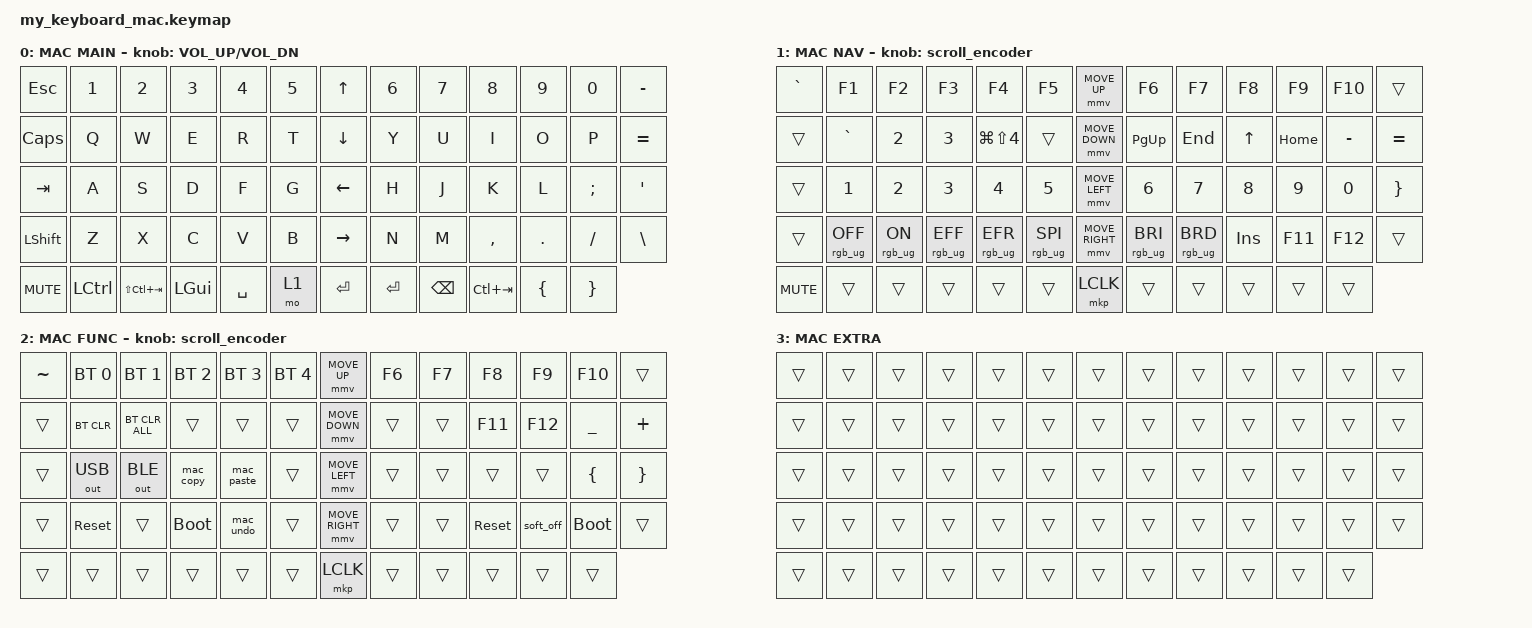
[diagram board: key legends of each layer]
#define ZMK_POINTING_DEFAULT_MOVE_VAL 1200  // 600
#define ZMK_POINTING_DEFAULT_SCRL_VAL 35    // 10

#include <input/processors.dtsi>
#include <zephyr/dt-bindings/input/input-event-codes.h>
#include <behaviors.dtsi>
#include <dt-bindings/zmk/bt.h>
#include <dt-bindings/zmk/keys.h>
#include <dt-bindings/zmk/outputs.h>
#include <dt-bindings/zmk/pointing.h>
#include <dt-bindings/zmk/rgb.h>

/ {
    zip_scroll_scaler: zip_scroll_scaler {
        compatible = "zmk,input-processor-scaler";
        #input-processor-cells = <2>;
        type = <INPUT_EV_REL>;
        codes = <INPUT_REL_WHEEL INPUT_REL_HWHEEL>;
        track-remainders;
    };
};

&mmv_input_listener { input-processors = <&zip_xy_scaler 2 1>; };

&msc_input_listener { input-processors = <&zip_scroll_scaler 2 1>; };

&msc {
    acceleration-exponent = <0>;      // 0
    time-to-max-speed-ms = <0>;       // 300
    delay-ms = <0>;                   // 0
};

&mmv {
    time-to-max-speed-ms = <400>;
    acceleration-exponent = <1>;
};

/ {
    scroll_encoder: scroll_encoder {
        compatible = "zmk,behavior-sensor-rotate";
        #sensor-binding-cells = <0>;
        bindings = <&msc SCRL_DOWN>, <&msc SCRL_UP>;

        tap-ms = <30>;
    };

    macros {
        shift_MB3: shift_MB3 {
            compatible = "zmk,behavior-macro";
            #binding-cells = <0>;
            bindings =
                <&macro_press>,
                <&kp LEFT_SHIFT>,
                <&macro_press>,
                <&mkp MB3>,
                <&macro_pause_for_release>,
                <&macro_release>,
                <&mkp MB3 &kp LEFT_SHIFT>;

            label = "SHIFT_MB3";
        };

        // Mac-specific macros

        mac_copy: mac_copy {
            compatible = "zmk,behavior-macro";
            #binding-cells = <0>;
            bindings = <&kp LG(C)>;
            label = "MAC_COPY";
        };

        mac_paste: mac_paste {
            compatible = "zmk,behavior-macro";
            #binding-cells = <0>;
            bindings = <&kp LG(V)>;
            label = "MAC_PASTE";
        };

        mac_undo: mac_undo {
            compatible = "zmk,behavior-macro";
            #binding-cells = <0>;
            bindings = <&kp LG(Z)>;
            label = "MAC_UNDO";
        };

    };

    combos {
        compatible = "zmk,combos";

        tabback {
            bindings = <&kp LS(LC(TAB))>;
            key-positions = <30 29>;
        };

        tabForward {
            bindings = <&kp LC(TAB)>;
            key-positions = <34 35>;
        };

        // --- APP SWITCHING ---

        combo_gui_hold {
            bindings = <&kp LGUI>;
            key-positions = <28 30>;
            layers = <0>;
        };

        // --- TAB MANAGEMENT ---

        combo_new_tab {
            bindings = <&kp LG(T)>;
            key-positions = <18 30>;
        };

        combo_close_tab {
            bindings = <&kp LG(W)>;
            key-positions = <15 30>;
        };

        combo_tab_plain {
            bindings = <&kp TAB>;
            key-positions = <34 36>;
        };

        // --- EDITING ---

        combo_del_line {
            bindings = <&kp LG(BACKSPACE)>;
            key-positions = <30 60>;
        };
    };

    keymap {
        compatible = "zmk,keymap";

        layer0 {
            bindings = <
&kp ESC     &kp N1     &kp N2           &kp N3        &kp N4     &kp N5    &kp UP_ARROW     &kp N6   &kp N7         &kp N8       &kp N9    &kp N0    &kp MINUS
&kp CAPS    &kp Q      &kp W            &kp E         &kp R      &kp T     &kp DOWN_ARROW   &kp Y    &kp U          &kp I        &kp O     &kp P     &kp EQUAL
&kp TAB     &kp A      &kp S            &kp D         &kp F      &kp G     &kp LEFT_ARROW   &kp H    &kp J          &kp K        &kp L     &kp SEMI  &kp APOS
&kp LSHFT   &kp Z      &kp X            &kp C         &kp V      &kp B     &kp RIGHT_ARROW  &kp N    &kp M          &kp COMMA    &kp DOT   &kp FSLH  &kp BSLH
&kp C_MUTE  &kp LCTRL  &kp LS(LC(TAB))  &kp LEFT_GUI  &kp SPACE  &mo 1     &kp ENTER        &kp RET  &kp BACKSPACE  &kp LC(TAB)  &kp LBRC  &kp RBRC
            >;

            sensor-bindings = <&inc_dec_kp C_VOLUME_UP C_VOL_DN>;
            display-name = "MAC MAIN";
        };

        layer_1 {
            bindings = <
&kp GRAVE   &kp F1           &kp F2          &kp F3           &kp F4           &kp F5                  &mmv MOVE_UP     &kp F6           &kp F7           &kp F8      &kp F9    &kp F10    &trans
&trans      &kp GRAVE        &kp N2          &kp N3           &kp LG(LS(N4))   &trans                  &mmv MOVE_DOWN   &kp PG_UP        &kp END          &kp UP      &kp HOME  &kp MINUS  &kp EQUAL
&trans      &kp N1           &kp N2          &kp N3           &kp N4           &kp N5                  &mmv MOVE_LEFT   &kp N6           &kp N7           &kp N8      &kp N9    &kp N0     &kp RBRC
&trans      &rgb_ug RGB_OFF  &rgb_ug RGB_ON  &rgb_ug RGB_EFF  &rgb_ug RGB_EFR  &rgb_ug RGB_SPI         &mmv MOVE_RIGHT  &rgb_ug RGB_BRI  &rgb_ug RGB_BRD  &kp INSERT  &kp F11   &kp F12    &trans
&kp C_MUTE  &trans           &trans          &trans           &trans           &trans                  &mkp LCLK        &trans           &trans           &trans      &trans    &trans
            >;

            display-name = "MAC NAV";
            sensor-bindings = <&scroll_encoder>;
        };

        layer_2 {
            bindings = <
&kp TILDE  &bt BT_SEL 0  &bt BT_SEL 1    &bt BT_SEL 2  &bt BT_SEL 3  &bt BT_SEL 4    &mmv MOVE_UP     &kp F6  &kp F7  &kp F8      &kp F9     &kp F10      &trans
&trans     &bt BT_CLR    &bt BT_CLR_ALL  &trans        &trans        &trans          &mmv MOVE_DOWN   &trans  &trans  &kp F11     &kp F12    &kp UNDER    &kp PLUS
&trans     &out OUT_USB  &out OUT_BLE    &mac_copy     &mac_paste    &trans          &mmv MOVE_LEFT   &trans  &trans  &trans      &trans     &kp LBRC     &kp RBRC
&trans     &sys_reset    &trans          &bootloader   &mac_undo     &trans          &mmv MOVE_RIGHT  &trans  &trans  &sys_reset  &soft_off  &bootloader  &trans
&trans     &trans        &trans          &trans        &trans        &trans          &mkp LCLK        &trans  &trans  &trans      &trans     &trans
            >;

            display-name = "MAC FUNC";
            sensor-bindings = <&scroll_encoder>;
        };

        layer_3 {
            bindings = <
&trans  &trans  &trans  &trans  &trans  &trans    &trans  &trans  &trans  &trans  &trans  &trans  &trans
&trans  &trans  &trans  &trans  &trans  &trans    &trans  &trans  &trans  &trans  &trans  &trans  &trans
&trans  &trans  &trans  &trans  &trans  &trans    &trans  &trans  &trans  &trans  &trans  &trans  &trans
&trans  &trans  &trans  &trans  &trans  &trans    &trans  &trans  &trans  &trans  &trans  &trans  &trans
&trans  &trans  &trans  &trans  &trans  &trans    &trans  &trans  &trans  &trans  &trans  &trans
            >;

            display-name = "MAC EXTRA";
        };
    };
};
